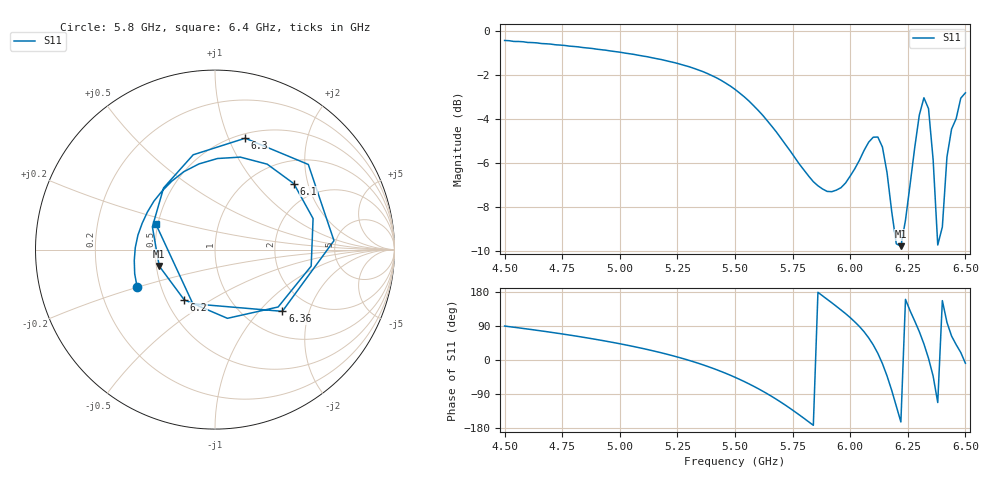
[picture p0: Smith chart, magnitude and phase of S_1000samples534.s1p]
! TOUCHSTONE file generated by CST MICROWAVE STUDIO
! Date and time: Fri Oct 28 12:09:57 2022
! Project name: L.cst
! Parameters = {Di=1.27; Epsilon_r=1.56; InnerDiameter=1.27; Length=2; Lf=10; Lg=60; OuterConductorThickness=0.2921; OuterDiameter=3.6; Wf=3; Wp=41.2; de=1.5; df=6.8; g=0.8; gx=4.63257; gy=2.60323; h=2.34; hf=1.524; px=11.7843; py=13.9418; w=9.7; wx=7.15173; wy=11.3386}
! Header version: 2018
! Port assignment regex: !\s*Touchstone port\s*([0-9]+)\s*=\s*(CST MWS port|CST DS port)\s*([0-9]+|Zmin|Zmax)\s*\(\"(.*)\"\)(\s*mode\s*([0-9]+))?.*
! Touchstone port assignment:
! Touchstone port 1 = CST MWS port 1 ("")
# GHz S DB R 50
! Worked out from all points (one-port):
!   101 points, 4.5 GHz to 6.5 GHz, reference 50 ohm
!   lowest |S11| = -9.8 dB at 6.22 GHz (marker M1), VSWR 1.96, Z = 25.9 - j5.32 ohm
!   |S11| at or under -10 dB: nowhere
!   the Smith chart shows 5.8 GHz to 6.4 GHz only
!   S11 on the Smith chart (normalised r, x): 5.8 GHz: 0.37, -0.20; 6.1 GHz: 1.50, +1.64; 6.2 GHz: 0.61, -0.39; 6.3 GHz: 0.54, +1.15; 6.36 GHz: 1.46, -1.35; 6.4 GHz: 0.49, +0.16
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4.5  -0.45 89.6
4.76  -0.68 67.8
5  -0.98 42.9
5.26  -1.52 6.2
5.38  -1.95 -16.7
5.5  -2.67 -45.6
5.64  -4.09 -89.1
5.76  -5.77 -136.6
5.8  -6.34 -154.2
5.9  -7.30 160.2
6  -6.61 111.9
6.06  -5.45 74.7
6.1  -4.84 39.9
6.14  -5.29 -9.7
6.18  -8.20 -79.8
6.2  -9.68 -121.6
6.22  -9.79 -163.5
6.26  -6.99 129.8
6.3  -3.84 74.8
6.32  -3.05 42.4
6.34  -3.55 4.3
6.36  -5.87 -42.5
6.38  -9.73 -112.3
6.4  -8.92 156.7
6.42  -5.74 99.2
6.44  -4.47 63.2
6.48  -3.07 19.7
6.5  -2.83 -8.5
